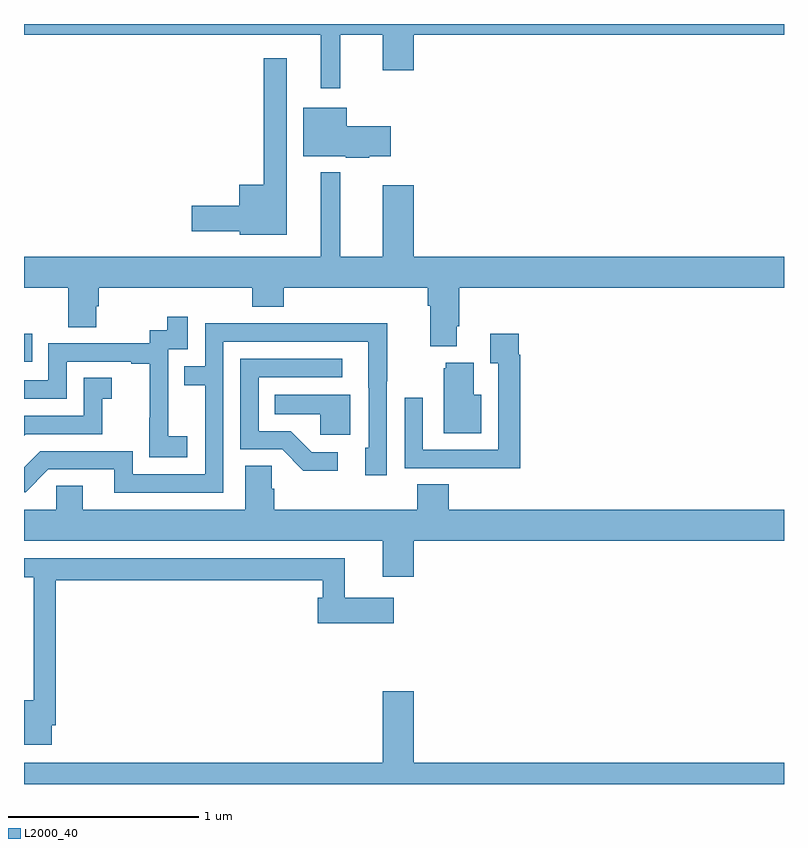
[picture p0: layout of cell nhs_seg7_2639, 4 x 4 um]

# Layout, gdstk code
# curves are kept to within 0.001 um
import gdstk
lib = gdstk.Library(unit=1e-6, precision=1e-09)
def R(c, l, rs):  # rectangles x0, y0, x1, y1
    for r in rs: c.add(gdstk.rectangle(r[:2], r[2:], *l))
def P(c, l, *ps):  # polygons
    for p in ps: c.add(gdstk.Polygon(p, *l))
L2000_40 = (2000, 40)

nhs_seg7_2639 = lib.new_cell('nhs_seg7_2639')
R(nhs_seg7_2639, L2000_40, [(283,1004.223,283.043,1004.371)])
P(nhs_seg7_2639, L2000_40, [(284.665,1005.944),(284.888,1005.944),(284.888,1005.756),(285.052,1005.756),(285.052,1005.944),(287,1005.944),(287,1006),(283,1006),(283,1005.944),(284.561,1005.944),(284.561,1005.663),(284.665,1005.663)],
  [(284.383,1005.82),(284.262,1005.82),(284.262,1005.154),(284.132,1005.154),(284.132,1005.044),(283.884,1005.044),(283.884,1004.909),(284.136,1004.909),(284.136,1004.891),(284.383,1004.891)],
  [(284.816,1005.305),(284.929,1005.305),(284.929,1005.463),(284.698,1005.463),(284.698,1005.559),(284.471,1005.559),(284.471,1005.305),(284.694,1005.305),(284.694,1005.295),(284.816,1005.295)],
  [(285.277,1004.41),(285.29,1004.41),(285.29,1004.612),(287,1004.612),(287,1004.776),(285.052,1004.776),(285.052,1005.151),(284.888,1005.151),(284.888,1004.776),(284.665,1004.776),(284.665,1005.113),(284.664,1005.113),(284.664,1005.22),(284.561,1005.22),(284.561,1004.776),(283,1004.776),(283,1004.612),(283.234,1004.612),(283.234,1004.404),(283.381,1004.404),(283.381,1004.514),(283.394,1004.514),(283.394,1004.612),(284.201,1004.612),(284.201,1004.513),(284.366,1004.513),(284.366,1004.612),(285.125,1004.612),(285.125,1004.516),(285.137,1004.516),(285.137,1004.303),(285.277,1004.303)],
  [(283.858,1003.831),(283.76,1003.831),(283.76,1004.06),(283.758,1004.06),(283.758,1004.289),(283.863,1004.289),(283.863,1004.458),(283.755,1004.458),(283.755,1004.388),(283.662,1004.388),(283.662,1004.319),(283.128,1004.319),(283.128,1004.124),(283,1004.124),(283,1004.028),(283.224,1004.028),(283.224,1004.223),(283.565,1004.223),(283.565,1004.211),(283.661,1004.211),(283.661,1003.927),(283.66,1003.927),(283.66,1003.721),(283.858,1003.721)],
  [(284.049,1004.328),(284.813,1004.328),(284.814,1003.77),(284.795,1003.77),(284.795,1003.626),(284.91,1003.626),(284.91,1004.119),(284.913,1004.119),(284.913,1004.426),(284.449,1004.426),(284.449,1004.424),(283.953,1004.424),(283.953,1004.199),(283.843,1004.199),(283.843,1004.098),(283.953,1004.098),(283.953,1003.629),(283.572,1003.629),(283.572,1003.752),(283.086,1003.752),(283,1003.666),(283,1003.536),(283.008,1003.536),(283.128,1003.656),(283.475,1003.656),(283.475,1003.533),(284.049,1003.533)],
  [(285.611,1004.258),(285.604,1004.258),(285.604,1004.371),(285.455,1004.371),(285.455,1004.215),(285.495,1004.215),(285.495,1003.758),(285.099,1003.758),(285.099,1004.032),(285.003,1004.032),(285.003,1003.662),(285.319,1003.662),(285.319,1003.661),(285.611,1003.661)],
  [(284.65,1003.746),(284.515,1003.746),(284.404,1003.857),(284.235,1003.857),(284.235,1004.142),(284.674,1004.142),(284.674,1004.238),(284.139,1004.238),(284.139,1003.761),(284.358,1003.761),(284.471,1003.649),(284.65,1003.649)],
  [(285.406,1004.05),(285.367,1004.05),(285.367,1004.218),(285.221,1004.218),(285.221,1004.187),(285.209,1004.187),(285.209,1003.847),(285.406,1003.847)],
  [(283.009,1003.842),(283.413,1003.842),(283.413,1004.027),(283.462,1004.027),(283.462,1004.137),(283.314,1004.137),(283.314,1003.938),(283,1003.938),(283,1003.833)],
  [(284.716,1004.05),(284.32,1004.05),(284.32,1003.946),(284.559,1003.946),(284.559,1003.838),(284.716,1003.838)],
  [(285.052,1003.28),(287,1003.28),(287,1003.444),(285.236,1003.444),(285.236,1003.577),(285.071,1003.577),(285.071,1003.444),(284.318,1003.444),(284.318,1003.553),(284.304,1003.553),(284.304,1003.676),(284.165,1003.676),(284.165,1003.444),(283.309,1003.444),(283.309,1003.571),(283.17,1003.571),(283.17,1003.444),(283,1003.444),(283,1003.28),(284.888,1003.28),(284.888,1003.092),(285.052,1003.092)],
  [(283.147,1002.31),(283.166,1002.31),(283.166,1003.072),(284.573,1003.072),(284.573,1002.979),(284.546,1002.979),(284.546,1002.845),(284.947,1002.845),(284.947,1002.979),(284.687,1002.979),(284.687,1003.188),(283,1003.188),(283,1003.088),(283.05,1003.088),(283.05,1002.442),(283,1002.442),(283,1002.206),(283.147,1002.206)],
  [(287,1002.112),(285.052,1002.112),(285.052,1002.487),(284.888,1002.487),(284.888,1002.112),(283,1002.112),(283,1002),(287,1002)])

lib.write_gds('nhs_seg7_2639.gds')
